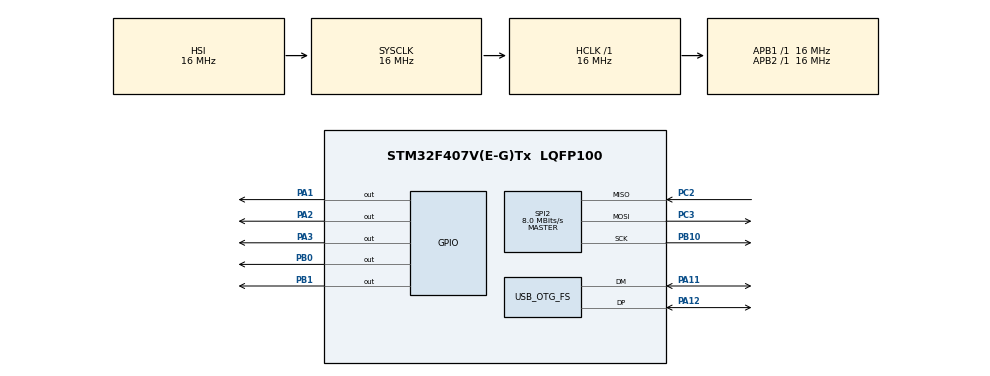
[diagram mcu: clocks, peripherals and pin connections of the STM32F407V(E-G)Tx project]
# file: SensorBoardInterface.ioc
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Mcu.Family=STM32F4
Mcu.Name=STM32F407V(E-G)Tx
Mcu.Package=LQFP100
NVIC.OTG_FS_IRQn=true\:0\:0\:false\:false\:true\:false\:true
NVIC.PriorityGroup=NVIC_PRIORITYGROUP_4
PA1.Signal=GPIO_Output
PA11.Mode=Device_Only
PA11.Signal=USB_OTG_FS_DM
PA12.Mode=Device_Only
PA12.Signal=USB_OTG_FS_DP
PA2.Signal=GPIO_Output
PA3.Signal=GPIO_Output
PB0.PinState=GPIO_PIN_SET
PB0.Signal=GPIO_Output
PB1.PinState=GPIO_PIN_SET
PB1.Signal=GPIO_Output
PB10.Mode=Full_Duplex_Master
PB10.Signal=SPI2_SCK
PC2.Mode=Full_Duplex_Master
PC2.Signal=SPI2_MISO
PC3.Mode=Full_Duplex_Master
PC3.Signal=SPI2_MOSI
PH0-OSC_IN.Mode=HSE-External-Oscillator
PH0-OSC_IN.Signal=RCC_OSC_IN
PH1-OSC_OUT.Mode=HSE-External-Oscillator
PH1-OSC_OUT.Signal=RCC_OSC_OUT
ProjectManager.HeapSize=0x200
ProjectManager.StackSize=0x400
ProjectManager.TargetToolchain=STM32CubeIDE
RCC.48MHZClocksFreq_Value=48000000
RCC.AHBFreq_Value=16000000
RCC.APB1Freq_Value=16000000
RCC.APB1TimFreq_Value=16000000
RCC.APB2Freq_Value=16000000
RCC.APB2TimFreq_Value=16000000
RCC.CortexFreq_Value=16000000
RCC.HCLKFreq_Value=16000000
RCC.HSE_VALUE=8000000
RCC.HSI_VALUE=16000000
RCC.LSE_VALUE=32768
RCC.PLLM=4
RCC.PLLN=72
RCC.PLLQ=3
RCC.SYSCLKFreq_VALUE=16000000
RCC.VCOOutputFreq_Value=144000000
SPI2.BaudRatePrescaler=SPI_BAUDRATEPRESCALER_2
SPI2.CalculateBaudRate=8.0 MBits/s
SPI2.DataSize=SPI_DATASIZE_16BIT
SPI2.Direction=SPI_DIRECTION_2LINES
SPI2.Mode=SPI_MODE_MASTER
SPI2.VirtualType=VM_MASTER
USB_DEVICE.CLASS_NAME_FS=CDC
USB_DEVICE.VirtualMode-CDC_FS=Cdc
USB_DEVICE.VirtualModeFS=Cdc_FS
USB_OTG_FS.VirtualMode=Device_Only
VP_USB_DEVICE_VS_USB_DEVICE_CDC_FS.Mode=CDC_FS
board=custom

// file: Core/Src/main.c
/* USER CODE BEGIN Header */
/**
  ******************************************************************************
  * @file           : main.c
  * @brief          : Main program body
  ******************************************************************************
  * @attention
  *
  * <h2><center>&copy; Copyright (c) 2021 STMicroelectronics.
  * All rights reserved.</center></h2>
  *
  * This software component is licensed by ST under BSD 3-Clause license,
  * the "License"; You may not use this file except in compliance with the
  * License. You may obtain a copy of the License at:
  *                        opensource.org/licenses/BSD-3-Clause
  *
  ******************************************************************************
  */
/* USER CODE END Header */
#include "main.h"
#include "usb_device.h"

/* USER CODE BEGIN Includes */
#include <stdlib.h>
#include "usbd_cdc_if.h"
#include "sensor.h"
/* USER CODE END Includes */

SPI_HandleTypeDef hspi2;

/* USER CODE BEGIN PV */
uint16_t spiOutputBuffer;
uint16_t spiInputBuffer;

uint16_t noSamples;
uint8_t noChannels;
uint8_t boardRev;
uint8_t *channels;
uint16_t *samples;
/* USER CODE END PV */

void SystemClock_Config(void);
static void MX_GPIO_Init(void);
static void MX_SPI2_Init(void);

int main(void)
{

  /* MCU Configuration--------------------------------------------------------*/

  /* Reset of all peripherals, Initializes the Flash interface and the Systick. */
  HAL_Init();

  /* Configure the system clock */
  SystemClock_Config();

  /* Initialize all configured peripherals */
  MX_GPIO_Init();
  MX_SPI2_Init();
  MX_USB_DEVICE_Init();
  /* USER CODE BEGIN 2 */

  PGA_set_gain(&hspi2, 1);

  /* USER CODE END 2 */

  /* Infinite loop */
  while (1)
  {

    /* USER CODE BEGIN 3 */

	while(noSamples == 0) ; // wait until host requests data

	uint16_t *samples;

	switch(boardRev) {
		case 1:
			// Rev01 - TODO
			break;
		case 2:
			samples = get_samples_rev02(&hspi2, noSamples, channels, noChannels);
			break;
		case 3:
			// Rev03 - TODO
			break;
	}

	// transmit samples
	// Since CDC_Transmit_FS sometimes has problems with sending large amounts of data,
	// samples array is divided into 10 segments and each segment is sent separately.
	// Uncomment this function call to send the entire array at once:
	// CDC_Transmit_FS((uint8_t *) samples, noSamples * noChannels * 2);

	for(uint8_t i = 0; i < 10; i++) {
		CDC_Transmit_FS((uint8_t *) samples + i * (noSamples * noChannels * 2 / 10), noSamples * noChannels * 2 / 10);
		HAL_Delay(100);
	}

	// reset variables, free memory, and wait for next request from host
	noSamples = 0;
	noChannels = 0;
	boardRev = 0;
	free(channels);
	free(samples);
  }
  /* USER CODE END 3 */
}

void SystemClock_Config(void)
{
  RCC_OscInitTypeDef RCC_OscInitStruct = {0};
  RCC_ClkInitTypeDef RCC_ClkInitStruct = {0};

  /** Configure the main internal regulator output voltage
  */
  __HAL_RCC_PWR_CLK_ENABLE();
  __HAL_PWR_VOLTAGESCALING_CONFIG(PWR_REGULATOR_VOLTAGE_SCALE1);
  /** Initializes the RCC Oscillators according to the specified parameters
  * in the RCC_OscInitTypeDef structure.
  */
  RCC_OscInitStruct.OscillatorType = RCC_OSCILLATORTYPE_HSI|RCC_OSCILLATORTYPE_HSE;
  RCC_OscInitStruct.HSEState = RCC_HSE_ON;
  RCC_OscInitStruct.HSIState = RCC_HSI_ON;
  RCC_OscInitStruct.HSICalibrationValue = RCC_HSICALIBRATION_DEFAULT;
  RCC_OscInitStruct.PLL.PLLState = RCC_PLL_ON;
  RCC_OscInitStruct.PLL.PLLSource = RCC_PLLSOURCE_HSE;
  RCC_OscInitStruct.PLL.PLLM = 4;
  RCC_OscInitStruct.PLL.PLLN = 72;
  RCC_OscInitStruct.PLL.PLLP = RCC_PLLP_DIV2;
  RCC_OscInitStruct.PLL.PLLQ = 3;
  if (HAL_RCC_OscConfig(&RCC_OscInitStruct) != HAL_OK)
  {
    Error_Handler();
  }
  /** Initializes the CPU, AHB and APB buses clocks
  */
  RCC_ClkInitStruct.ClockType = RCC_CLOCKTYPE_HCLK|RCC_CLOCKTYPE_SYSCLK
                              |RCC_CLOCKTYPE_PCLK1|RCC_CLOCKTYPE_PCLK2;
  RCC_ClkInitStruct.SYSCLKSource = RCC_SYSCLKSOURCE_HSI;
  RCC_ClkInitStruct.AHBCLKDivider = RCC_SYSCLK_DIV1;
  RCC_ClkInitStruct.APB1CLKDivider = RCC_HCLK_DIV1;
  RCC_ClkInitStruct.APB2CLKDivider = RCC_HCLK_DIV1;

  if (HAL_RCC_ClockConfig(&RCC_ClkInitStruct, FLASH_LATENCY_0) != HAL_OK)
  {
    Error_Handler();
  }
}

static void MX_SPI2_Init(void)
{

  /* SPI2 parameter configuration*/
  hspi2.Instance = SPI2;
  hspi2.Init.Mode = SPI_MODE_MASTER;
  hspi2.Init.Direction = SPI_DIRECTION_2LINES;
  hspi2.Init.DataSize = SPI_DATASIZE_16BIT;
  hspi2.Init.CLKPolarity = SPI_POLARITY_LOW;
  hspi2.Init.CLKPhase = SPI_PHASE_1EDGE;
  hspi2.Init.NSS = SPI_NSS_SOFT;
  hspi2.Init.BaudRatePrescaler = SPI_BAUDRATEPRESCALER_2;
  hspi2.Init.FirstBit = SPI_FIRSTBIT_MSB;
  hspi2.Init.TIMode = SPI_TIMODE_DISABLE;
  hspi2.Init.CRCCalculation = SPI_CRCCALCULATION_DISABLE;
  hspi2.Init.CRCPolynomial = 10;
  if (HAL_SPI_Init(&hspi2) != HAL_OK)
  {
    Error_Handler();
  }

}

static void MX_GPIO_Init(void)
{
  GPIO_InitTypeDef GPIO_InitStruct = {0};

  /* GPIO Ports Clock Enable */
  __HAL_RCC_GPIOH_CLK_ENABLE();
  __HAL_RCC_GPIOC_CLK_ENABLE();
  __HAL_RCC_GPIOA_CLK_ENABLE();
  __HAL_RCC_GPIOB_CLK_ENABLE();

  /*Configure GPIO pin Output Level */
  HAL_GPIO_WritePin(GPIOA, GPIO_PIN_1|GPIO_PIN_2|GPIO_PIN_3, GPIO_PIN_RESET);

  /*Configure GPIO pin Output Level */
  HAL_GPIO_WritePin(GPIOB, GPIO_PIN_0|GPIO_PIN_1, GPIO_PIN_SET);

  /*Configure GPIO pins : PA1 PA2 PA3 */
  GPIO_InitStruct.Pin = GPIO_PIN_1|GPIO_PIN_2|GPIO_PIN_3;
  GPIO_InitStruct.Mode = GPIO_MODE_OUTPUT_PP;
  GPIO_InitStruct.Pull = GPIO_NOPULL;
  GPIO_InitStruct.Speed = GPIO_SPEED_FREQ_LOW;
  HAL_GPIO_Init(GPIOA, &GPIO_InitStruct);

  /*Configure GPIO pins : PB0 PB1 */
  GPIO_InitStruct.Pin = GPIO_PIN_0|GPIO_PIN_1;
  GPIO_InitStruct.Mode = GPIO_MODE_OUTPUT_PP;
  GPIO_InitStruct.Pull = GPIO_NOPULL;
  GPIO_InitStruct.Speed = GPIO_SPEED_FREQ_LOW;
  HAL_GPIO_Init(GPIOB, &GPIO_InitStruct);

}

/* USER CODE BEGIN 4 */

void CDC_Receive_Callback(uint8_t *buff, uint32_t len)
{
	/*
	 * It may be a good idea to check if received data is invalid, i.e. if channel values are out of range,
	 * or if there is more than 8 channels. For now we will assume the host only sends valid data.
	 */

	boardRev = buff[0];
	noSamples = buff[1] | (buff[2] << 8);
	noChannels = len - 3;

	// create an array containing labels of channels to be sampled
	channels = (uint8_t *) malloc(noChannels);
	for(uint8_t i = 0; i < noChannels; i++) {
		channels[i] = buff[i + 3];
	}
}

/* USER CODE END 4 */

void Error_Handler(void)
{
}

/************************ (C) COPYRIGHT STMicroelectronics *****END OF FILE****/
